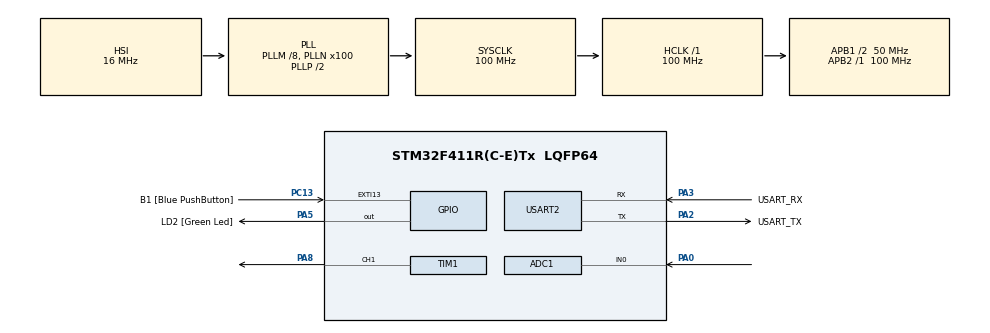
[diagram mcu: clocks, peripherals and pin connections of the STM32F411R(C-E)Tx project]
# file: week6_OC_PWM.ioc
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Mcu.Family=STM32F4
RCC.CortexFreq_Value=100000000
PA14.GPIO_Label=TCK
TIM1.Pulse-PWM\ Generation1\ CH1=5000
RCC.SYSCLKSource=RCC_SYSCLKSOURCE_PLLCLK
ProjectManager.StackSize=0x400
NVIC.ADC_IRQn=true\:0\:0\:false\:false\:true\:true\:true
PH0\ -\ OSC_IN.Signal=RCC_OSC_IN
RCC.HCLKFreq_Value=100000000
RCC.APB2TimFreq_Value=100000000
TIM3.Period=1000
RCC.AHBFreq_Value=100000000
ADC1.Channel-0\#ChannelRegularConversion=ADC_CHANNEL_0
NVIC.TIM1_TRG_COM_TIM11_IRQn=true\:0\:0\:false\:false\:true\:true\:true
RCC.HSE_VALUE=8000000
PC13-ANTI_TAMP.Signal=GPXTI13
PC14-OSC32_IN.Mode=LSE-External-Oscillator
TIM1.Channel-PWM\ Generation1\ CH1=TIM_CHANNEL_1
PA14.Mode=Serial_Wire
TIM3.Prescaler=99
PA8.Signal=S_TIM1_CH1
SH.ADCx_IN0.0=ADC1_IN0,IN0
VP_TIM1_VS_ClockSourceINT.Mode=Internal
ADC1.SamplingTime-0\#ChannelRegularConversion=ADC_SAMPLETIME_56CYCLES
RCC.FLatency-AdvancedSettings=FLASH_LATENCY_3
Mcu.Package=LQFP64
USART2.VirtualMode=VM_ASYNC
PA2.GPIO_Label=USART_TX
RCC.APB1TimFreq_Value=100000000
TIM1.Period=10000
VP_TIM3_VS_ClockSourceINT.Mode=Internal
PA3.Signal=USART2_RX
PB3.GPIO_Label=SWO
PC15-OSC32_OUT.Mode=LSE-External-Oscillator
ADC1.Rank-0\#ChannelRegularConversion=1
PC13-ANTI_TAMP.GPIO_Label=B1 [Blue PushButton]
PH1\ -\ OSC_OUT.Mode=HSE-External-Clock-Source
TIM11.Prescaler=99
RCC.APB1CLKDivider=RCC_HCLK_DIV2
PC14-OSC32_IN.Signal=RCC_OSC32_IN
PA0-WKUP.Signal=ADCx_IN0
VP_TIM11_VS_ClockSourceINT.Mode=Enable_Timer
PA13.Signal=SYS_JTMS-SWDIO
PA3.Mode=Asynchronous
PH0\ -\ OSC_IN.Mode=HSE-External-Clock-Source
SH.S_TIM1_CH1.0=TIM1_CH1,PWM Generation1 CH1
ProjectManager.TargetToolchain=STM32CubeIDE
PC15-OSC32_OUT.Signal=RCC_OSC32_OUT
PA5.Signal=GPIO_Output
PH1\ -\ OSC_OUT.Signal=RCC_OSC_OUT
board=NUCLEO-F411RE
RCC.VCOOutputFreq_Value=200000000
RCC.APB2Freq_Value=100000000
PA13.Mode=Serial_Wire
Mcu.Name=STM32F411R(C-E)Tx
PA13.GPIO_Label=TMS
PA2.Signal=USART2_TX
ADC1.ExternalTrigConv=ADC_EXTERNALTRIGCONV_T3_TRGO
RCC.48MHZClocksFreq_Value=50000000
PB3.Signal=SYS_JTDO-SWO
RCC.SYSCLKFreq_VALUE=100000000
ADC1.master=1
PA5.GPIO_Label=LD2 [Green Led]
PC13-ANTI_TAMP.GPIO_ModeDefaultEXTI=GPIO_MODE_IT_FALLING
PA14.Signal=SYS_JTCK-SWCLK
ProjectManager.HeapSize=0x200
RCC.HSI_VALUE=16000000
NVIC.PriorityGroup=NVIC_PRIORITYGROUP_0
ADC1.NbrOfConversionFlag=1
RCC.PLLM=8
RCC.PLLN=100
PA2.Mode=Asynchronous
TIM3.TIM_MasterOutputTrigger=TIM_TRGO_UPDATE
RCC.APB1Freq_Value=50000000
PA3.GPIO_Label=USART_RX

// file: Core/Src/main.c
/* USER CODE BEGIN Header */
/**
 ******************************************************************************
 * @file           : main.c
 * @brief          : Main program body
 ******************************************************************************
 * @attention
 *
 * <h2><center>&copy; Copyright (c) 2021 STMicroelectronics.
 * All rights reserved.</center></h2>
 *
 * This software component is licensed by ST under BSD 3-Clause license,
 * the "License"; You may not use this file except in compliance with the
 * License. You may obtain a copy of the License at:
 *                        opensource.org/licenses/BSD-3-Clause
 *
 ******************************************************************************
 */
/* USER CODE END Header */
#include "main.h"

ADC_HandleTypeDef hadc1;

TIM_HandleTypeDef htim1;
TIM_HandleTypeDef htim3;
TIM_HandleTypeDef htim11;

UART_HandleTypeDef huart2;

/* USER CODE BEGIN PV */

uint8_t ADCUpdateFlag = 0;
//Store ADC Value
uint16_t ADCFeedBack = 0;
float OutputVoltage = 0;
float Error = 0;
uint16_t WantedVoltage = 1;
uint16_t Kp = 100;

float MaxVoltage = 3.3;
float MaxADCValue = 4096;

uint16_t PWM = 10000;

uint64_t _micro = 0;
uint64_t TimeOutputLoop = 0;
/* USER CODE END PV */

void SystemClock_Config(void);
static void MX_GPIO_Init(void);
static void MX_USART2_UART_Init(void);
static void MX_ADC1_Init(void);
static void MX_TIM1_Init(void);
static void MX_TIM3_Init(void);
static void MX_TIM11_Init(void);
/* USER CODE BEGIN PFP */
uint64_t micros();
/* USER CODE END PFP */

int main(void)
{

  /* MCU Configuration--------------------------------------------------------*/

  /* Reset of all peripherals, Initializes the Flash interface and the Systick. */
  HAL_Init();

  /* Configure the system clock */
  SystemClock_Config();

  /* Initialize all configured peripherals */
  MX_GPIO_Init();
  MX_USART2_UART_Init();
  MX_ADC1_Init();
  MX_TIM1_Init();
  MX_TIM3_Init();
  MX_TIM11_Init();
  /* USER CODE BEGIN 2 */
	//ADC START
	HAL_ADC_Start_IT(&hadc1);
	HAL_TIM_Base_Start(&htim3);
	// start pwm
	HAL_TIM_Base_Start(&htim1);
	HAL_TIM_PWM_Start(&htim1, TIM_CHANNEL_1);
	// start micros
	HAL_TIM_Base_Start_IT(&htim11);
  /* USER CODE END 2 */

  /* Infinite loop */
	while (1)
	{

    /* USER CODE BEGIN 3 */

		//1 Khz Loop
		if (micros() - TimeOutputLoop >= 1000)//uS
		{
			TimeOutputLoop = micros();
			// #001
			OutputVoltage = (ADCFeedBack * MaxVoltage)/(MaxADCValue);
			Error = WantedVoltage - OutputVoltage;
			PWM = PWM + (Kp*Error);
			__HAL_TIM_SET_COMPARE(&htim1, TIM_CHANNEL_1, PWM);

		}

		if (ADCUpdateFlag)
		{
			ADCUpdateFlag = 0;
			//#002
		}

	}
  /* USER CODE END 3 */
}

void SystemClock_Config(void)
{
  RCC_OscInitTypeDef RCC_OscInitStruct = {0};
  RCC_ClkInitTypeDef RCC_ClkInitStruct = {0};

  /** Configure the main internal regulator output voltage
  */
  __HAL_RCC_PWR_CLK_ENABLE();
  __HAL_PWR_VOLTAGESCALING_CONFIG(PWR_REGULATOR_VOLTAGE_SCALE1);
  /** Initializes the RCC Oscillators according to the specified parameters
  * in the RCC_OscInitTypeDef structure.
  */
  RCC_OscInitStruct.OscillatorType = RCC_OSCILLATORTYPE_HSI;
  RCC_OscInitStruct.HSIState = RCC_HSI_ON;
  RCC_OscInitStruct.HSICalibrationValue = RCC_HSICALIBRATION_DEFAULT;
  RCC_OscInitStruct.PLL.PLLState = RCC_PLL_ON;
  RCC_OscInitStruct.PLL.PLLSource = RCC_PLLSOURCE_HSI;
  RCC_OscInitStruct.PLL.PLLM = 8;
  RCC_OscInitStruct.PLL.PLLN = 100;
  RCC_OscInitStruct.PLL.PLLP = RCC_PLLP_DIV2;
  RCC_OscInitStruct.PLL.PLLQ = 4;
  if (HAL_RCC_OscConfig(&RCC_OscInitStruct) != HAL_OK)
  {
    Error_Handler();
  }
  /** Initializes the CPU, AHB and APB buses clocks
  */
  RCC_ClkInitStruct.ClockType = RCC_CLOCKTYPE_HCLK|RCC_CLOCKTYPE_SYSCLK
                              |RCC_CLOCKTYPE_PCLK1|RCC_CLOCKTYPE_PCLK2;
  RCC_ClkInitStruct.SYSCLKSource = RCC_SYSCLKSOURCE_PLLCLK;
  RCC_ClkInitStruct.AHBCLKDivider = RCC_SYSCLK_DIV1;
  RCC_ClkInitStruct.APB1CLKDivider = RCC_HCLK_DIV2;
  RCC_ClkInitStruct.APB2CLKDivider = RCC_HCLK_DIV1;

  if (HAL_RCC_ClockConfig(&RCC_ClkInitStruct, FLASH_LATENCY_3) != HAL_OK)
  {
    Error_Handler();
  }
}

static void MX_ADC1_Init(void)
{

  ADC_ChannelConfTypeDef sConfig = {0};

  /** Configure the global features of the ADC (Clock, Resolution, Data Alignment and number of conversion)
  */
  hadc1.Instance = ADC1;
  hadc1.Init.ClockPrescaler = ADC_CLOCK_SYNC_PCLK_DIV4;
  hadc1.Init.Resolution = ADC_RESOLUTION_12B;
  hadc1.Init.ScanConvMode = DISABLE;
  hadc1.Init.ContinuousConvMode = DISABLE;
  hadc1.Init.DiscontinuousConvMode = DISABLE;
  hadc1.Init.ExternalTrigConvEdge = ADC_EXTERNALTRIGCONVEDGE_RISING;
  hadc1.Init.ExternalTrigConv = ADC_EXTERNALTRIGCONV_T3_TRGO;
  hadc1.Init.DataAlign = ADC_DATAALIGN_RIGHT;
  hadc1.Init.NbrOfConversion = 1;
  hadc1.Init.DMAContinuousRequests = DISABLE;
  hadc1.Init.EOCSelection = ADC_EOC_SINGLE_CONV;
  if (HAL_ADC_Init(&hadc1) != HAL_OK)
  {
    Error_Handler();
  }
  /** Configure for the selected ADC regular channel its corresponding rank in the sequencer and its sample time.
  */
  sConfig.Channel = ADC_CHANNEL_0;
  sConfig.Rank = 1;
  sConfig.SamplingTime = ADC_SAMPLETIME_56CYCLES;
  if (HAL_ADC_ConfigChannel(&hadc1, &sConfig) != HAL_OK)
  {
    Error_Handler();
  }

}

static void MX_TIM1_Init(void)
{

  TIM_ClockConfigTypeDef sClockSourceConfig = {0};
  TIM_MasterConfigTypeDef sMasterConfig = {0};
  TIM_OC_InitTypeDef sConfigOC = {0};
  TIM_BreakDeadTimeConfigTypeDef sBreakDeadTimeConfig = {0};

  htim1.Instance = TIM1;
  htim1.Init.Prescaler = 0;
  htim1.Init.CounterMode = TIM_COUNTERMODE_UP;
  htim1.Init.Period = 10000;
  htim1.Init.ClockDivision = TIM_CLOCKDIVISION_DIV1;
  htim1.Init.RepetitionCounter = 0;
  htim1.Init.AutoReloadPreload = TIM_AUTORELOAD_PRELOAD_DISABLE;
  if (HAL_TIM_Base_Init(&htim1) != HAL_OK)
  {
    Error_Handler();
  }
  sClockSourceConfig.ClockSource = TIM_CLOCKSOURCE_INTERNAL;
  if (HAL_TIM_ConfigClockSource(&htim1, &sClockSourceConfig) != HAL_OK)
  {
    Error_Handler();
  }
  if (HAL_TIM_PWM_Init(&htim1) != HAL_OK)
  {
    Error_Handler();
  }
  sMasterConfig.MasterOutputTrigger = TIM_TRGO_RESET;
  sMasterConfig.MasterSlaveMode = TIM_MASTERSLAVEMODE_DISABLE;
  if (HAL_TIMEx_MasterConfigSynchronization(&htim1, &sMasterConfig) != HAL_OK)
  {
    Error_Handler();
  }
  sConfigOC.OCMode = TIM_OCMODE_PWM1;
  sConfigOC.Pulse = 5000;
  sConfigOC.OCPolarity = TIM_OCPOLARITY_HIGH;
  sConfigOC.OCNPolarity = TIM_OCNPOLARITY_HIGH;
  sConfigOC.OCFastMode = TIM_OCFAST_DISABLE;
  sConfigOC.OCIdleState = TIM_OCIDLESTATE_RESET;
  sConfigOC.OCNIdleState = TIM_OCNIDLESTATE_RESET;
  if (HAL_TIM_PWM_ConfigChannel(&htim1, &sConfigOC, TIM_CHANNEL_1) != HAL_OK)
  {
    Error_Handler();
  }
  sBreakDeadTimeConfig.OffStateRunMode = TIM_OSSR_DISABLE;
  sBreakDeadTimeConfig.OffStateIDLEMode = TIM_OSSI_DISABLE;
  sBreakDeadTimeConfig.LockLevel = TIM_LOCKLEVEL_OFF;
  sBreakDeadTimeConfig.DeadTime = 0;
  sBreakDeadTimeConfig.BreakState = TIM_BREAK_DISABLE;
  sBreakDeadTimeConfig.BreakPolarity = TIM_BREAKPOLARITY_HIGH;
  sBreakDeadTimeConfig.AutomaticOutput = TIM_AUTOMATICOUTPUT_DISABLE;
  if (HAL_TIMEx_ConfigBreakDeadTime(&htim1, &sBreakDeadTimeConfig) != HAL_OK)
  {
    Error_Handler();
  }
  HAL_TIM_MspPostInit(&htim1);

}

static void MX_TIM3_Init(void)
{

  TIM_ClockConfigTypeDef sClockSourceConfig = {0};
  TIM_MasterConfigTypeDef sMasterConfig = {0};

  htim3.Instance = TIM3;
  htim3.Init.Prescaler = 99;
  htim3.Init.CounterMode = TIM_COUNTERMODE_UP;
  htim3.Init.Period = 1000;
  htim3.Init.ClockDivision = TIM_CLOCKDIVISION_DIV1;
  htim3.Init.AutoReloadPreload = TIM_AUTORELOAD_PRELOAD_DISABLE;
  if (HAL_TIM_Base_Init(&htim3) != HAL_OK)
  {
    Error_Handler();
  }
  sClockSourceConfig.ClockSource = TIM_CLOCKSOURCE_INTERNAL;
  if (HAL_TIM_ConfigClockSource(&htim3, &sClockSourceConfig) != HAL_OK)
  {
    Error_Handler();
  }
  sMasterConfig.MasterOutputTrigger = TIM_TRGO_UPDATE;
  sMasterConfig.MasterSlaveMode = TIM_MASTERSLAVEMODE_DISABLE;
  if (HAL_TIMEx_MasterConfigSynchronization(&htim3, &sMasterConfig) != HAL_OK)
  {
    Error_Handler();
  }

}

static void MX_TIM11_Init(void)
{

  htim11.Instance = TIM11;
  htim11.Init.Prescaler = 99;
  htim11.Init.CounterMode = TIM_COUNTERMODE_UP;
  htim11.Init.Period = 65535;
  htim11.Init.ClockDivision = TIM_CLOCKDIVISION_DIV1;
  htim11.Init.AutoReloadPreload = TIM_AUTORELOAD_PRELOAD_DISABLE;
  if (HAL_TIM_Base_Init(&htim11) != HAL_OK)
  {
    Error_Handler();
  }

}

static void MX_USART2_UART_Init(void)
{

  huart2.Instance = USART2;
  huart2.Init.BaudRate = 115200;
  huart2.Init.WordLength = UART_WORDLENGTH_8B;
  huart2.Init.StopBits = UART_STOPBITS_1;
  huart2.Init.Parity = UART_PARITY_NONE;
  huart2.Init.Mode = UART_MODE_TX_RX;
  huart2.Init.HwFlowCtl = UART_HWCONTROL_NONE;
  huart2.Init.OverSampling = UART_OVERSAMPLING_16;
  if (HAL_UART_Init(&huart2) != HAL_OK)
  {
    Error_Handler();
  }

}

static void MX_GPIO_Init(void)
{
  GPIO_InitTypeDef GPIO_InitStruct = {0};

  /* GPIO Ports Clock Enable */
  __HAL_RCC_GPIOC_CLK_ENABLE();
  __HAL_RCC_GPIOH_CLK_ENABLE();
  __HAL_RCC_GPIOA_CLK_ENABLE();
  __HAL_RCC_GPIOB_CLK_ENABLE();

  /*Configure GPIO pin Output Level */
  HAL_GPIO_WritePin(LD2_GPIO_Port, LD2_Pin, GPIO_PIN_RESET);

  /*Configure GPIO pin : B1_Pin */
  GPIO_InitStruct.Pin = B1_Pin;
  GPIO_InitStruct.Mode = GPIO_MODE_IT_FALLING;
  GPIO_InitStruct.Pull = GPIO_NOPULL;
  HAL_GPIO_Init(B1_GPIO_Port, &GPIO_InitStruct);

  /*Configure GPIO pin : LD2_Pin */
  GPIO_InitStruct.Pin = LD2_Pin;
  GPIO_InitStruct.Mode = GPIO_MODE_OUTPUT_PP;
  GPIO_InitStruct.Pull = GPIO_NOPULL;
  GPIO_InitStruct.Speed = GPIO_SPEED_FREQ_LOW;
  HAL_GPIO_Init(LD2_GPIO_Port, &GPIO_InitStruct);

}

/* USER CODE BEGIN 4 */

void HAL_ADC_ConvCpltCallback(ADC_HandleTypeDef *hadc)
{
	ADCFeedBack = HAL_ADC_GetValue(&hadc1);

 	ADCUpdateFlag = 1;

}
void HAL_TIM_PeriodElapsedCallback(TIM_HandleTypeDef *htim)
{
	if (htim == &htim11)
	{
		_micro += 65535;
	}

}

__inline__ uint64_t micros()
{
	return _micro + htim11.Instance->CNT;
}
/* USER CODE END 4 */

void Error_Handler(void)
{
	__disable_irq();
	while (1)
	{
	}
}

/************************ (C) COPYRIGHT STMicroelectronics *****END OF FILE****/
